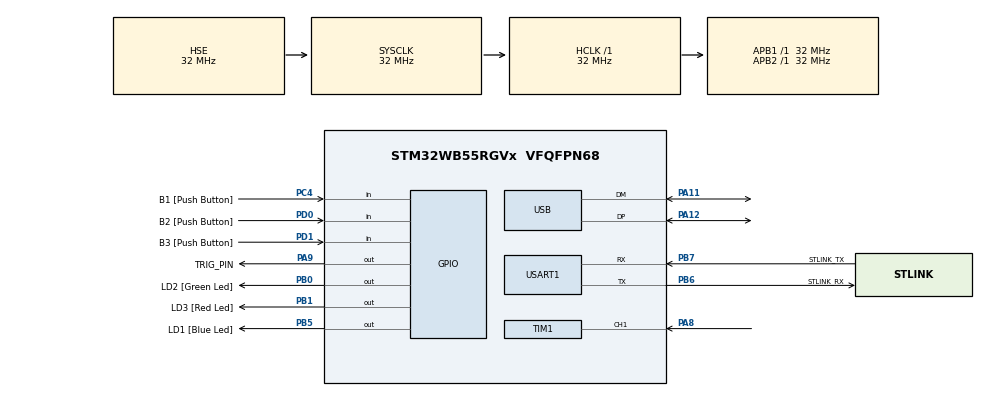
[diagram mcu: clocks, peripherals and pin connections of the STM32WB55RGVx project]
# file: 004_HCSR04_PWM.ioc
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Mcu.Family=STM32WB
Mcu.Name=STM32WB55RGVx
Mcu.Package=VFQFPN68
NVIC.PriorityGroup=NVIC_PRIORITYGROUP_4
NVIC.TIM1_CC_IRQn=true\:0\:0\:false\:false\:true\:true\:true\:true
OSC_IN.Mode=HSE-External-Oscillator
OSC_IN.Signal=RCC_OSC_IN
OSC_OUT.Mode=HSE-External-Oscillator
OSC_OUT.Signal=RCC_OSC_OUT
PA11.Mode=Device
PA11.Signal=USB_DM
PA12.Mode=Device
PA12.Signal=USB_DP
PA13.GPIO_Label=JTMS
PA13.Mode=Trace_Asynchronous_SW
PA13.Signal=SYS_JTMS-SWDIO
PA14.GPIO_Label=JTCK
PA14.Mode=Trace_Asynchronous_SW
PA14.Signal=SYS_JTCK-SWCLK
PA8.Signal=S_TIM1_CH1
PA9.GPIO_Label=TRIG_PIN
PA9.Signal=GPIO_Output
PB0.GPIO_Label=LD2 [Green Led]
PB0.Signal=GPIO_Output
PB1.GPIO_Label=LD3 [Red Led]
PB1.Signal=GPIO_Output
PB3.GPIO_Label=JTDO
PB3.Mode=Trace_Asynchronous_SW
PB3.Signal=SYS_JTDO-SWO
PB5.GPIO_Label=LD1 [Blue Led]
PB5.Signal=GPIO_Output
PB6.GPIO_Label=STLINK_RX
PB6.GPIO_PuPd=GPIO_PULLUP
PB6.Mode=Asynchronous
PB6.Signal=USART1_TX
PB7.GPIO_Label=STLINK_TX
PB7.GPIO_PuPd=GPIO_PULLUP
PB7.Mode=Asynchronous
PB7.Signal=USART1_RX
PC13.Mode=SYS_WakeUp1
PC13.Signal=SYS_WKUP2
PC14-OSC32_IN.Mode=LSE-External-Oscillator
PC14-OSC32_IN.Signal=RCC_OSC32_IN
PC15-OSC32_OUT.Mode=LSE-External-Oscillator
PC15-OSC32_OUT.Signal=RCC_OSC32_OUT
PC4.GPIO_Label=B1 [Push Button]
PC4.Signal=GPIO_Input
PD0.GPIO_Label=B2 [Push Button]
PD0.Signal=GPIO_Input
PD1.GPIO_Label=B3 [Push Button]
PD1.Signal=GPIO_Input
ProjectManager.HeapSize=0x200
ProjectManager.StackSize=0x400
ProjectManager.TargetToolchain=STM32CubeIDE
RCC.ADCFreq_Value=48000000
RCC.AHBFreq_Value=32000000
RCC.APB1Freq_Value=32000000
RCC.APB1TimFreq_Value=32000000
RCC.APB2Freq_Value=32000000
RCC.APB2TimFreq_Value=32000000
RCC.APB3Freq_Value=16000000
RCC.CortexFreq_Value=32000000
RCC.HCLKFreq_Value=32000000
RCC.HSE_VALUE=32000000
RCC.HSI48_VALUE=48000000
RCC.HSI_VALUE=16000000
RCC.PLLN=32
RCC.PLLSAI1N=24
RCC.SMPSCLockSelectionVirtual=RCC_SMPSCLKSOURCE_HSI
RCC.SMPSCLockSelectionVirtualVirtual=RCC_SMPSCLKSOURCE_HSI
RCC.SMPSDivider=1
RCC.SYSCLKFreq_VALUE=32000000
RCC.SYSCLKSource=RCC_SYSCLKSOURCE_HSE
RCC.USBFreq_Value=48000000
RCC.VCOOutputFreq_Value=128000000
SH.S_TIM1_CH1.0=TIM1_CH1,Input_Capture1_from_TI1
TIM1.Channel-Input_Capture1_from_TI1=TIM_CHANNEL_1
TIM1.Prescaler=32-1
USART1.VirtualMode-Asynchronous=VM_ASYNC
USART1.WordLength=WORDLENGTH_7B
board=P-NUCLEO-WB55-NUCLEO

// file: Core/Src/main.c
/* USER CODE BEGIN Header */
/**
  ******************************************************************************
  * @file           : main.c
  * @brief          : Main program body
  ******************************************************************************
  * @attention
  *
  * Copyright (c) 2023 STMicroelectronics.
  * All rights reserved.
  *
  * This software is licensed under terms that can be found in the LICENSE file
  * in the root directory of this software component.
  * If no LICENSE file comes with this software, it is provided AS-IS.
  *
  ******************************************************************************
  */
/* USER CODE END Header */
#include "main.h"

/* USER CODE BEGIN Includes */
#include <stdio.h>
/* USER CODE END Includes */

 TIM_HandleTypeDef htim1;

UART_HandleTypeDef huart1;

PCD_HandleTypeDef hpcd_USB_FS;

/* USER CODE BEGIN PV */
uint32_t IC_Val1 = 0;
uint32_t IC_Val2 = 0;
uint32_t Difference = 0;
uint8_t Is_First_Captured = 0;  // is the first value captured ?
uint8_t Distance  = 0;
/* USER CODE END PV */

void SystemClock_Config(void);
void PeriphCommonClock_Config(void);
static void MX_GPIO_Init(void);
static void MX_USART1_UART_Init(void);
static void MX_USB_PCD_Init(void);
static void MX_TIM1_Init(void);
/* USER CODE BEGIN PFP */
int _write(int file, char *ptr, int len);

void delay(uint16_t time)
{
	__HAL_TIM_SET_COUNTER(&htim1,0);
	while(__HAL_TIM_GET_COUNTER(&htim1) < time);
}

void HAL_TIM_IC_CaptureCallback(TIM_HandleTypeDef *htim)
{
	if (htim->Channel == HAL_TIM_ACTIVE_CHANNEL_1)  // if the interrupt source is channel1
	{
		if (Is_First_Captured==0) // if the first value is not captured
		{
			IC_Val1 = HAL_TIM_ReadCapturedValue(htim, TIM_CHANNEL_1); // read the first value
			Is_First_Captured = 1;  // set the first captured as true
			// Now change the polarity to falling edge
			__HAL_TIM_SET_CAPTUREPOLARITY(htim, TIM_CHANNEL_1, TIM_INPUTCHANNELPOLARITY_FALLING);
		}

		else if (Is_First_Captured==1)   // if the first is already captured
		{
			IC_Val2 = HAL_TIM_ReadCapturedValue(htim, TIM_CHANNEL_1);  // read second value
			__HAL_TIM_SET_COUNTER(htim, 0);  // reset the counter

			if (IC_Val2 > IC_Val1)
			{
				Difference = IC_Val2-IC_Val1;
			}

			else if (IC_Val1 > IC_Val2)
			{
				Difference = (0xffff - IC_Val1) + IC_Val2;
			}

			Distance = Difference * .034/2;
			Is_First_Captured = 0; // set it back to false

			// set polarity to rising edge
			__HAL_TIM_SET_CAPTUREPOLARITY(htim, TIM_CHANNEL_1, TIM_INPUTCHANNELPOLARITY_RISING);
			__HAL_TIM_DISABLE_IT(&htim1, TIM_IT_CC1);
		}
	}
}

void HCSR04_Read (void)
{
	HAL_GPIO_WritePin(TRIG_PORT, TRIG_PIN, GPIO_PIN_SET);  // pull the TRIG pin HIGH
	delay(10);  // wait for 10 us
	HAL_GPIO_WritePin(TRIG_PORT, TRIG_PIN, GPIO_PIN_RESET);  // pull the TRIG pin low

	__HAL_TIM_ENABLE_IT(&htim1, TIM_IT_CC1);
}
/* USER CODE END PFP */

int main(void)
{

  /* MCU Configuration--------------------------------------------------------*/

  /* Reset of all peripherals, Initializes the Flash interface and the Systick. */
  HAL_Init();

  /* Configure the system clock */
  SystemClock_Config();

/* Configure the peripherals common clocks */
  PeriphCommonClock_Config();

  /* Initialize all configured peripherals */
  MX_GPIO_Init();
  MX_USART1_UART_Init();
  MX_USB_PCD_Init();
  MX_TIM1_Init();
  /* USER CODE BEGIN 2 */
  HAL_TIM_IC_Start_IT(&htim1, TIM_CHANNEL_1);
  /* USER CODE END 2 */

  /* Infinite loop */
  while (1)
  {
	  HCSR04_Read();
	  printf("\nDistance : %d cm", Distance);
	  HAL_Delay(200);
  }
}

void SystemClock_Config(void)
{
  RCC_OscInitTypeDef RCC_OscInitStruct = {0};
  RCC_ClkInitTypeDef RCC_ClkInitStruct = {0};

  /** Macro to configure the PLL multiplication factor
  */
  __HAL_RCC_PLL_PLLM_CONFIG(RCC_PLLM_DIV1);

  /** Macro to configure the PLL clock source
  */
  __HAL_RCC_PLL_PLLSOURCE_CONFIG(RCC_PLLSOURCE_MSI);

  /** Configure LSE Drive Capability
  */
  HAL_PWR_EnableBkUpAccess();
  __HAL_RCC_LSEDRIVE_CONFIG(RCC_LSEDRIVE_LOW);

  /** Configure the main internal regulator output voltage
  */
  __HAL_PWR_VOLTAGESCALING_CONFIG(PWR_REGULATOR_VOLTAGE_SCALE1);

  /** Initializes the RCC Oscillators according to the specified parameters
  * in the RCC_OscInitTypeDef structure.
  */
  RCC_OscInitStruct.OscillatorType = RCC_OSCILLATORTYPE_HSI|RCC_OSCILLATORTYPE_HSE
                              |RCC_OSCILLATORTYPE_LSE|RCC_OSCILLATORTYPE_MSI;
  RCC_OscInitStruct.HSEState = RCC_HSE_ON;
  RCC_OscInitStruct.LSEState = RCC_LSE_ON;
  RCC_OscInitStruct.HSIState = RCC_HSI_ON;
  RCC_OscInitStruct.MSIState = RCC_MSI_ON;
  RCC_OscInitStruct.HSICalibrationValue = RCC_HSICALIBRATION_DEFAULT;
  RCC_OscInitStruct.MSICalibrationValue = RCC_MSICALIBRATION_DEFAULT;
  RCC_OscInitStruct.MSIClockRange = RCC_MSIRANGE_6;
  RCC_OscInitStruct.PLL.PLLState = RCC_PLL_NONE;
  if (HAL_RCC_OscConfig(&RCC_OscInitStruct) != HAL_OK)
  {
    Error_Handler();
  }

  /** Configure the SYSCLKSource, HCLK, PCLK1 and PCLK2 clocks dividers
  */
  RCC_ClkInitStruct.ClockType = RCC_CLOCKTYPE_HCLK4|RCC_CLOCKTYPE_HCLK2
                              |RCC_CLOCKTYPE_HCLK|RCC_CLOCKTYPE_SYSCLK
                              |RCC_CLOCKTYPE_PCLK1|RCC_CLOCKTYPE_PCLK2;
  RCC_ClkInitStruct.SYSCLKSource = RCC_SYSCLKSOURCE_HSE;
  RCC_ClkInitStruct.AHBCLKDivider = RCC_SYSCLK_DIV1;
  RCC_ClkInitStruct.APB1CLKDivider = RCC_HCLK_DIV1;
  RCC_ClkInitStruct.APB2CLKDivider = RCC_HCLK_DIV1;
  RCC_ClkInitStruct.AHBCLK2Divider = RCC_SYSCLK_DIV1;
  RCC_ClkInitStruct.AHBCLK4Divider = RCC_SYSCLK_DIV1;

  if (HAL_RCC_ClockConfig(&RCC_ClkInitStruct, FLASH_LATENCY_1) != HAL_OK)
  {
    Error_Handler();
  }

  /** Enable MSI Auto calibration
  */
  HAL_RCCEx_EnableMSIPLLMode();
}

void PeriphCommonClock_Config(void)
{
  RCC_PeriphCLKInitTypeDef PeriphClkInitStruct = {0};

  /** Initializes the peripherals clock
  */
  PeriphClkInitStruct.PeriphClockSelection = RCC_PERIPHCLK_SMPS;
  PeriphClkInitStruct.SmpsClockSelection = RCC_SMPSCLKSOURCE_HSI;
  PeriphClkInitStruct.SmpsDivSelection = RCC_SMPSCLKDIV_RANGE0;

  if (HAL_RCCEx_PeriphCLKConfig(&PeriphClkInitStruct) != HAL_OK)
  {
    Error_Handler();
  }
}

static void MX_TIM1_Init(void)
{

  TIM_MasterConfigTypeDef sMasterConfig = {0};
  TIM_IC_InitTypeDef sConfigIC = {0};

  htim1.Instance = TIM1;
  htim1.Init.Prescaler = 32-1;
  htim1.Init.CounterMode = TIM_COUNTERMODE_UP;
  htim1.Init.Period = 65535;
  htim1.Init.ClockDivision = TIM_CLOCKDIVISION_DIV1;
  htim1.Init.RepetitionCounter = 0;
  htim1.Init.AutoReloadPreload = TIM_AUTORELOAD_PRELOAD_DISABLE;
  if (HAL_TIM_IC_Init(&htim1) != HAL_OK)
  {
    Error_Handler();
  }
  sMasterConfig.MasterOutputTrigger = TIM_TRGO_RESET;
  sMasterConfig.MasterOutputTrigger2 = TIM_TRGO2_RESET;
  sMasterConfig.MasterSlaveMode = TIM_MASTERSLAVEMODE_DISABLE;
  if (HAL_TIMEx_MasterConfigSynchronization(&htim1, &sMasterConfig) != HAL_OK)
  {
    Error_Handler();
  }
  sConfigIC.ICPolarity = TIM_INPUTCHANNELPOLARITY_RISING;
  sConfigIC.ICSelection = TIM_ICSELECTION_DIRECTTI;
  sConfigIC.ICPrescaler = TIM_ICPSC_DIV1;
  sConfigIC.ICFilter = 0;
  if (HAL_TIM_IC_ConfigChannel(&htim1, &sConfigIC, TIM_CHANNEL_1) != HAL_OK)
  {
    Error_Handler();
  }

}

static void MX_USART1_UART_Init(void)
{

  huart1.Instance = USART1;
  huart1.Init.BaudRate = 115200;
  huart1.Init.WordLength = UART_WORDLENGTH_7B;
  huart1.Init.StopBits = UART_STOPBITS_1;
  huart1.Init.Parity = UART_PARITY_NONE;
  huart1.Init.Mode = UART_MODE_TX_RX;
  huart1.Init.HwFlowCtl = UART_HWCONTROL_NONE;
  huart1.Init.OverSampling = UART_OVERSAMPLING_16;
  huart1.Init.OneBitSampling = UART_ONE_BIT_SAMPLE_DISABLE;
  huart1.Init.ClockPrescaler = UART_PRESCALER_DIV1;
  huart1.AdvancedInit.AdvFeatureInit = UART_ADVFEATURE_NO_INIT;
  if (HAL_UART_Init(&huart1) != HAL_OK)
  {
    Error_Handler();
  }
  if (HAL_UARTEx_SetTxFifoThreshold(&huart1, UART_TXFIFO_THRESHOLD_1_8) != HAL_OK)
  {
    Error_Handler();
  }
  if (HAL_UARTEx_SetRxFifoThreshold(&huart1, UART_RXFIFO_THRESHOLD_1_8) != HAL_OK)
  {
    Error_Handler();
  }
  if (HAL_UARTEx_DisableFifoMode(&huart1) != HAL_OK)
  {
    Error_Handler();
  }

}

static void MX_USB_PCD_Init(void)
{

  hpcd_USB_FS.Instance = USB;
  hpcd_USB_FS.Init.dev_endpoints = 8;
  hpcd_USB_FS.Init.speed = PCD_SPEED_FULL;
  hpcd_USB_FS.Init.phy_itface = PCD_PHY_EMBEDDED;
  hpcd_USB_FS.Init.Sof_enable = DISABLE;
  hpcd_USB_FS.Init.low_power_enable = DISABLE;
  hpcd_USB_FS.Init.lpm_enable = DISABLE;
  hpcd_USB_FS.Init.battery_charging_enable = DISABLE;
  if (HAL_PCD_Init(&hpcd_USB_FS) != HAL_OK)
  {
    Error_Handler();
  }

}

static void MX_GPIO_Init(void)
{
  GPIO_InitTypeDef GPIO_InitStruct = {0};

  /* GPIO Ports Clock Enable */
  __HAL_RCC_GPIOC_CLK_ENABLE();
  __HAL_RCC_GPIOA_CLK_ENABLE();
  __HAL_RCC_GPIOB_CLK_ENABLE();
  __HAL_RCC_GPIOD_CLK_ENABLE();

  /*Configure GPIO pin Output Level */
  HAL_GPIO_WritePin(TRIG_PORT, TRIG_PIN, GPIO_PIN_RESET);

  /*Configure GPIO pin Output Level */
  HAL_GPIO_WritePin(GPIOB, LD2_Pin|LD3_Pin|LD1_Pin, GPIO_PIN_RESET);

  /*Configure GPIO pin : TRIG_PIN_Pin */
  GPIO_InitStruct.Pin = TRIG_PIN;
  GPIO_InitStruct.Mode = GPIO_MODE_OUTPUT_PP;
  GPIO_InitStruct.Pull = GPIO_NOPULL;
  GPIO_InitStruct.Speed = GPIO_SPEED_FREQ_LOW;
  HAL_GPIO_Init(TRIG_PORT, &GPIO_InitStruct);

  /*Configure GPIO pin : B1_Pin */
  GPIO_InitStruct.Pin = B1_Pin;
  GPIO_InitStruct.Mode = GPIO_MODE_INPUT;
  GPIO_InitStruct.Pull = GPIO_NOPULL;
  HAL_GPIO_Init(B1_GPIO_Port, &GPIO_InitStruct);

  /*Configure GPIO pins : LD2_Pin LD3_Pin LD1_Pin */
  GPIO_InitStruct.Pin = LD2_Pin|LD3_Pin|LD1_Pin;
  GPIO_InitStruct.Mode = GPIO_MODE_OUTPUT_PP;
  GPIO_InitStruct.Pull = GPIO_NOPULL;
  GPIO_InitStruct.Speed = GPIO_SPEED_FREQ_LOW;
  HAL_GPIO_Init(GPIOB, &GPIO_InitStruct);

  /*Configure GPIO pins : B2_Pin B3_Pin */
  GPIO_InitStruct.Pin = B2_Pin|B3_Pin;
  GPIO_InitStruct.Mode = GPIO_MODE_INPUT;
  GPIO_InitStruct.Pull = GPIO_NOPULL;
  HAL_GPIO_Init(GPIOD, &GPIO_InitStruct);

}

/* USER CODE BEGIN 4 */

int _write(int file, char *ptr, int len)
{
  /* Implement your write code here, this is used by puts and printf for example */
  int i=0;
  for(i=0 ; i<len ; i++)
    ITM_SendChar((*ptr++));
  return len;
}

/* USER CODE END 4 */

void Error_Handler(void)
{
  __disable_irq();
  while (1)
  {
  }
}
